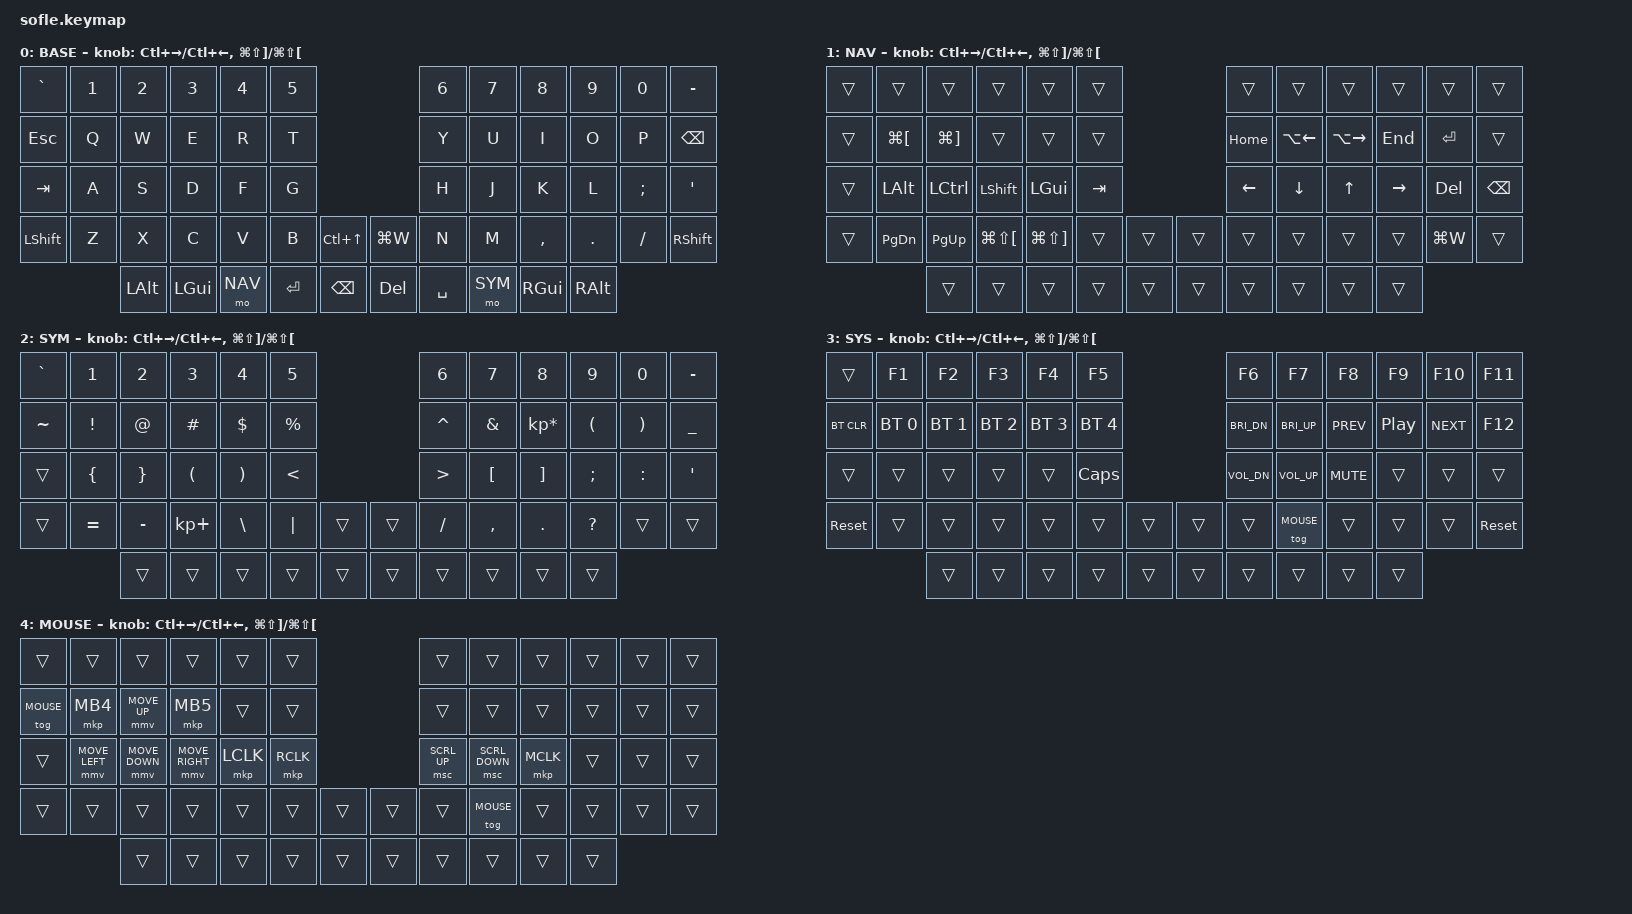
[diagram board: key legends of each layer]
/*
 * Copyright (c) 2020 The ZMK Contributors
 *
 * SPDX-License-Identifier: MIT
 */

#include <behaviors.dtsi>
#include <dt-bindings/zmk/bt.h>
#include <dt-bindings/zmk/keys.h>
#include <dt-bindings/zmk/pointing.h>

#define BASE 0
#define NAV 1
#define SYM 2
#define SYS 3
#define MOUSE 4

/ {
    conditional_layers {
        compatible = "zmk,conditional-layers";

        sys_layer {
            if-layers = <NAV SYM>;
            then-layer = <SYS>;
        };
    };

    keymap {
        compatible = "zmk,keymap";

        default_layer {
            display-name = "BASE";

            // ------------------------------------------------------------------------------------------------------------
            // |  `    |  1  |  2  |  3   |  4   |  5   |                   |  6   |  7    |  8    |  9   |   0   |       |
            // |  ESC  |  Q  |  W  |  E   |  R   |  T   |                   |  Y   |  U    |  I    |  O   |   P   | BKSPC |
            // |  TAB  |  A  |  S  |  D   |  F   |  G   |                   |  H   |  J    |  K    |  L   |   ;   |   '   |
            // | SHIFT |  Z  |  X  |  C   |  V   |  B   |MISSION |  | CLOSE |  N   |  M    |  ,    |  .   |   /   | SHIFT |
            //               | OPT | CMD  | NAV  | ENTER|  BSPC  |  | DEL   | SPACE| SYM   | CMD   | OPT  |

            bindings = <
&kp GRAVE  &kp N1  &kp N2    &kp N3    &kp N4     &kp N5                            &kp N6  &kp N7     &kp N8     &kp N9    &kp N0    &kp MINUS
&kp ESC    &kp Q   &kp W     &kp E     &kp R      &kp T                             &kp Y   &kp U      &kp I      &kp O     &kp P     &kp BSPC
&kp TAB    &kp A   &kp S     &kp D     &kp F      &kp G                             &kp H   &kp J      &kp K      &kp L     &kp SEMI  &kp SQT
&kp LSHFT  &kp Z   &kp X     &kp C     &kp V      &kp B   &kp LC(UP)    &kp LG(W)  &kp N   &kp M      &kp COMMA  &kp DOT   &kp FSLH  &kp RSHFT
                   &kp LALT  &kp LGUI  &mo NAV    &kp RET   &kp BSPC     &kp DEL     &kp SPACE &mo SYM &kp RGUI   &kp RALT
            >;

            sensor-bindings = <&inc_dec_kp LC(RIGHT) LC(LEFT) &inc_dec_kp LG(LS(RBKT)) LG(LS(LBKT))>;
        };

        nav_layer {
            display-name = "NAV";

            // ------------------------------------------------------------------------------------------------------------
            // Browser, editor, word, line and tab navigation for macOS.

            bindings = <
&trans  &trans        &trans        &trans           &trans           &trans                         &trans        &trans      &trans       &trans        &trans         &trans
&trans  &kp LG(LBKT)  &kp LG(RBKT)  &trans           &trans           &trans                         &kp HOME      &kp LA(LEFT) &kp LA(RIGHT) &kp END      &kp RET         &trans
&trans  &kp LALT      &kp LCTRL     &kp LSHFT        &kp LGUI        &kp TAB                        &kp LEFT      &kp DOWN     &kp UP       &kp RIGHT    &kp DEL         &kp BSPC
&trans  &kp PG_DN     &kp PG_UP     &kp LG(LS(LBKT)) &kp LG(LS(RBKT)) &trans      &trans    &trans  &trans        &trans      &trans       &trans        &kp LG(W)       &trans
                      &trans        &trans           &trans           &trans      &trans    &trans  &trans        &trans      &trans       &trans
            >;

            sensor-bindings = <&inc_dec_kp LC(RIGHT) LC(LEFT) &inc_dec_kp LG(LS(RBKT)) LG(LS(LBKT))>;
        };

        sym_layer {
            display-name = "SYM";

            // ------------------------------------------------------------------------------------------------------------
            // Numbers, brackets and programming symbols.

            bindings = <
&kp GRAVE  &kp N1     &kp N2    &kp N3       &kp N4    &kp N5                         &kp N6     &kp N7    &kp N8           &kp N9     &kp N0     &kp MINUS
&kp TILDE  &kp EXCL   &kp AT    &kp HASH     &kp DLLR  &kp PRCNT                      &kp CARET  &kp AMPS  &kp KP_MULTIPLY  &kp LPAR   &kp RPAR   &kp UNDER
&trans     &kp LBRC   &kp RBRC  &kp LPAR     &kp RPAR  &kp LT                         &kp GT     &kp LBKT  &kp RBKT          &kp SEMI   &kp COLON  &kp SQT
&trans     &kp EQUAL  &kp MINUS &kp KP_PLUS  &kp BSLH  &kp PIPE     &trans    &trans  &kp FSLH   &kp COMMA &kp DOT           &kp QMARK  &trans     &trans
                    &trans     &trans       &trans     &trans     &trans     &trans  &trans      &trans    &trans           &trans
            >;

            sensor-bindings = <&inc_dec_kp LC(RIGHT) LC(LEFT) &inc_dec_kp LG(LS(RBKT)) LG(LS(LBKT))>;
        };

        sys_layer {
            display-name = "SYS";

            // Hold NAV + SYM together for function keys, Bluetooth, media and mouse toggle.
            bindings = <
&trans      &kp F1        &kp F2        &kp F3        &kp F4        &kp F5                           &kp F6        &kp F7        &kp F8      &kp F9      &kp F10     &kp F11
&bt BT_CLR  &bt BT_SEL 0  &bt BT_SEL 1  &bt BT_SEL 2  &bt BT_SEL 3  &bt BT_SEL 4                    &kp C_BRI_DN  &kp C_BRI_UP  &kp C_PREV  &kp C_PP    &kp C_NEXT  &kp F12
&trans      &trans        &trans        &trans        &trans        &kp CLCK                        &kp C_VOL_DN  &kp C_VOL_UP  &kp C_MUTE  &trans      &trans      &trans
&sys_reset  &trans        &trans        &trans        &trans        &trans        &trans    &trans  &trans        &tog MOUSE   &trans      &trans      &trans      &sys_reset
                          &trans        &trans        &trans        &trans        &trans    &trans  &trans        &trans        &trans      &trans
            >;

            sensor-bindings = <&inc_dec_kp LC(RIGHT) LC(LEFT) &inc_dec_kp LG(LS(RBKT)) LG(LS(LBKT))>;
        };

        mouse_layer {
            display-name = "MOUSE";

            // Toggle from SYS with physical M. Exit with Esc or M.
            bindings = <
&trans      &trans        &trans          &trans         &trans          &trans                         &trans          &trans          &trans       &trans       &trans       &trans
&tog MOUSE  &mkp MB4      &mmv MOVE_UP    &mkp MB5       &trans          &trans                         &trans          &trans          &trans       &trans       &trans       &trans
&trans      &mmv MOVE_LEFT &mmv MOVE_DOWN &mmv MOVE_RIGHT &mkp LCLK      &mkp RCLK                      &msc SCRL_UP    &msc SCRL_DOWN  &mkp MCLK   &trans       &trans       &trans
&trans      &trans        &trans          &trans         &trans          &trans       &trans    &trans  &trans          &tog MOUSE     &trans       &trans       &trans       &trans
                          &trans          &trans         &trans          &trans       &trans    &trans  &trans          &trans         &trans       &trans
            >;

            sensor-bindings = <&inc_dec_kp LC(RIGHT) LC(LEFT) &inc_dec_kp LG(LS(RBKT)) LG(LS(LBKT))>;
        };
    };
};
